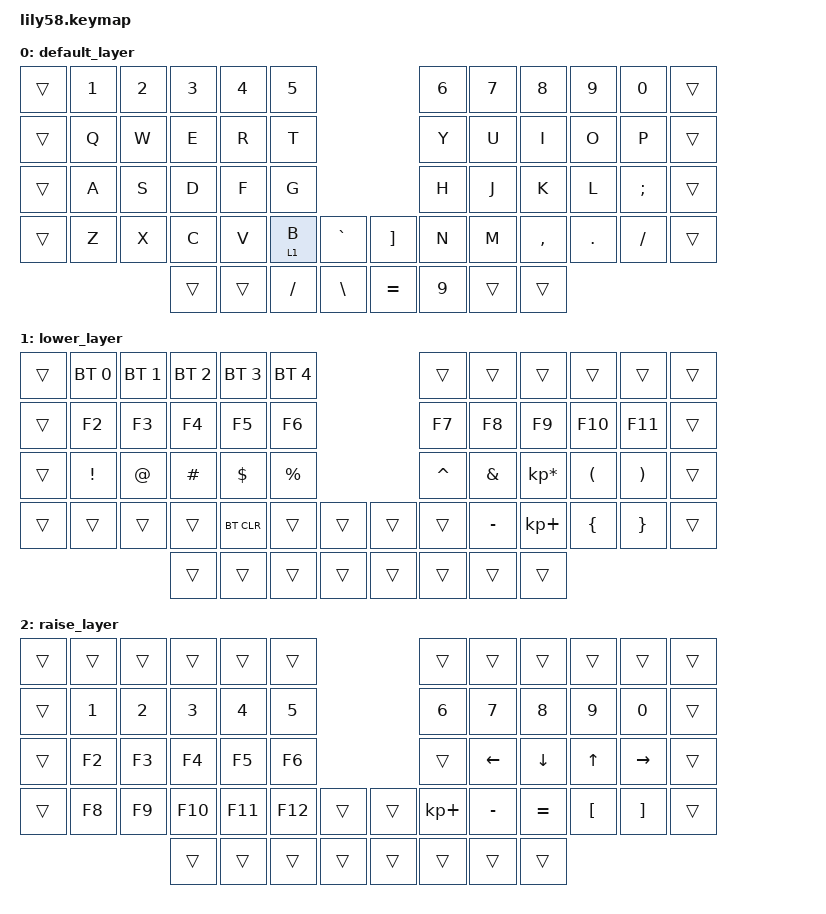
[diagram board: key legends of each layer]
/*
 * Copyright (c) 2020 The ZMK Contributors
 *
 * SPDX-License-Identifier: MIT
 */

#include <behaviors.dtsi>
#include <dt-bindings/zmk/bt.h>
#include <dt-bindings/zmk/keys.h>
#include <dt-bindings/zmk/outputs.h>

/ {
    macros {
        norsk_AO: norsk_AO {
            compatible = "zmk,behavior-macro";
            #binding-cells = <0>;
            bindings =
                <&macro_press>,
                <&kp LEFT_ALT>,
                <&macro_tap>,
                <&kp KP_NUMBER_0 &kp KP_NUMBER_2 &kp KP_NUMBER_2 &kp KP_NUMBER_9>,
                <&macro_release>,
                <&kp LEFT_ALT>;

            label = "NORSK_AO";
        };

        norsk_AO_cap: norsk_AO_cap {
            compatible = "zmk,behavior-macro";
            #binding-cells = <0>;
            bindings =
                <&macro_press>,
                <&kp LEFT_ALT>,
                <&macro_tap>,
                <&kp KP_NUMBER_0 &kp KP_NUMBER_1 &kp KP_NUMBER_9 &kp KP_NUMBER_7>,
                <&macro_release>,
                <&kp LEFT_ALT>;

            label = "NORSK_AO_CAP";
        };

        delete_line: delete_line {
            compatible = "zmk,behavior-macro";
            #binding-cells = <0>;
            bindings = <&kp END &kp LS(HOME) &kp BACKSPACE>;
            label = "DELETE_LINE";
        };

        norsk_AE: norsk_AE {
            compatible = "zmk,behavior-macro";
            #binding-cells = <0>;
            bindings =
                <&macro_press>,
                <&kp LEFT_ALT>,
                <&macro_tap>,
                <&kp KP_NUMBER_0 &kp KP_NUMBER_2 &kp KP_NUMBER_3 &kp KP_NUMBER_0>,
                <&macro_release>,
                <&kp LEFT_ALT>;

            label = "NORSK_AE";
        };

        norsk_AE_CAP: norsk_AE_CAP {
            compatible = "zmk,behavior-macro";
            #binding-cells = <0>;
            bindings =
                <&macro_press>,
                <&kp LEFT_ALT>,
                <&macro_tap>,
                <&kp KP_NUMBER_0 &kp KP_NUMBER_1 &kp KP_NUMBER_9 &kp KP_NUMBER_8>,
                <&macro_release>,
                <&kp LEFT_ALT>;

            label = "NORSK_AE_CAP";
        };

        norsk_OE: norsk_OE {
            compatible = "zmk,behavior-macro";
            #binding-cells = <0>;
            bindings =
                <&macro_press>,
                <&kp LEFT_ALT>,
                <&macro_tap>,
                <&kp KP_NUMBER_0 &kp KP_NUMBER_2 &kp KP_NUMBER_4 &kp KP_NUMBER_8>,
                <&macro_release>,
                <&kp LEFT_ALT>;

            label = "NORSK_OE";
        };

        norsk_OE_CAP: norsk_OE_CAP {
            compatible = "zmk,behavior-macro";
            #binding-cells = <0>;
            bindings =
                <&macro_press>,
                <&kp LEFT_ALT>,
                <&macro_tap>,
                <&kp KP_NUMBER_0 &kp KP_NUMBER_2 &kp KP_NUMBER_1 &kp KP_NUMBER_6>,
                <&macro_release>,
                <&kp LEFT_ALT>;

            label = "NORSK_OE_CAP";
        };

        degree: degree {
            compatible = "zmk,behavior-macro";
            #binding-cells = <0>;
            bindings =
                <&macro_press>,
                <&kp LEFT_ALT>,
                <&macro_tap>,
                <&kp KP_NUMBER_0 &kp KP_NUMBER_1 &kp KP_NUMBER_7 &kp KP_NUMBER_6>,
                <&macro_release>,
                <&kp LEFT_ALT>;

            label = "DEGREE";
        };

        par_mid: par_mid {
            compatible = "zmk,behavior-macro";
            #binding-cells = <0>;
            bindings = <&kp LEFT_PARENTHESIS &kp RIGHT_PARENTHESIS &kp LEFT>;
            label = "PAR_MID";
        };

        brk_mid: brk_mid {
            compatible = "zmk,behavior-macro";
            #binding-cells = <0>;
            bindings = <&kp LEFT_BRACKET &kp RIGHT_BRACKET &kp LEFT>;
            label = "BRK_MID";
        };

        brc_mid: brc_mid {
            compatible = "zmk,behavior-macro";
            #binding-cells = <0>;
            bindings = <&kp LEFT_BRACE &kp RIGHT_BRACE &kp LEFT>;
            label = "BRC_MID";
        };

        email: email {
            compatible = "zmk,behavior-macro";
            #binding-cells = <0>;
            bindings = <&kp I &kp Z &kp W &kp A &kp N &kp DOT &kp P &kp E &kp N &kp G &kp AT &kp G &kp M &kp A &kp I &kp L &kp DOT &kp C &kp O &kp M>;
            label = "EMAIL";
        };

        IKM_ADMIN: IKM_ADMIN {
            compatible = "zmk,behavior-macro";
            #binding-cells = <0>;
            bindings =
                <&macro_tap>,
                <&kp DOT &kp BSLH &kp A &kp D &kp M &kp I &kp N &kp I &kp S &kp T &kp R &kp A &kp T &kp O &kp R &kp TAB>;

            label = "IKM_ADMIN";
        };

        IKM_PC: IKM_PC {
            compatible = "zmk,behavior-macro";
            #binding-cells = <0>;
            bindings =
                <&macro_tap>,
                <&kp RIGHT &kp RIGHT &kp RIGHT &kp RIGHT &kp RIGHT &kp RIGHT &kp RIGHT &kp RIGHT &kp LS(A) &kp D &kp A &kp M &kp LS(A) &kp V &kp A &kp N2 &kp N1 &kp N2 &kp N2 &kp ENTER>;

            label = "IKM_PC";
        };

        INS_FIG: INS_FIG {
            compatible = "zmk,behavior-macro";
            #binding-cells = <0>;
            wait-ms = <150>;
            tap-ms = <150>;
            bindings =
                <&kp LC(LA(R))>,
                <&macro_wait_time 200>,
                <&kp F>,
                <&macro_wait_time 50>,
                <&kp I>,
                <&macro_wait_time 50>,
                <&kp G>,
                <&macro_wait_time 50>,
                <&kp TAB>,
                <&macro_wait_time 300>,
                <&kp DOWN>,
                <&macro_wait_time 150>,
                <&kp DOWN_ARROW>,
                <&macro_wait_time 150>,
                <&kp TAB &kp TAB>;

            label = "INS_FIG";
        };

        INS_TAB: INS_TAB {
            compatible = "zmk,behavior-macro";
            #binding-cells = <0>;
            wait-ms = <150>;
            tap-ms = <150>;
            bindings =
                <&kp LC(LA(R))>,
                <&macro_wait_time 200>,
                <&kp T>,
                <&macro_wait_time 50>,
                <&kp A>,
                <&macro_wait_time 50>,
                <&kp B>,
                <&macro_wait_time 50>,
                <&kp TAB>,
                <&macro_wait_time 300>,
                <&kp DOWN>,
                <&macro_wait_time 150>,
                <&kp DOWN_ARROW>,
                <&macro_wait_time 150>,
                <&kp TAB &kp TAB>;

            label = "INS_TAB";
        };

        INS_REF: INS_REF {
            compatible = "zmk,behavior-macro";
            #binding-cells = <0>;
            wait-ms = <150>;
            tap-ms = <150>;
            bindings =
                <&kp LC(LA(R))>,
                <&macro_wait_time 200>,
                <&kp N>,
                <&macro_wait_time 50>,
                <&kp U>,
                <&macro_wait_time 50>,
                <&kp M>,
                <&macro_wait_time 50>,
                <&kp TAB>,
                <&macro_wait_time 300>,
                <&kp DOWN>,
                <&macro_wait_time 150>,
                <&kp DOWN_ARROW>,
                <&macro_wait_time 150>,
                <&kp DOWN_ARROW>,
                <&macro_wait_time 150>,
                <&kp TAB &kp TAB>;

            label = "INS_REF";
        };

        INS_CAP: INS_CAP {
            compatible = "zmk,behavior-macro";
            #binding-cells = <0>;
            bindings = <&kp LEFT_ALT &kp S &kp P>;
            label = "INS_CAP";
            wait-ms = <150>;
        };

        NOR_ID: NOR_ID {
            compatible = "zmk,behavior-macro";
            #binding-cells = <0>;
            bindings = <&none &kp N0 &kp N1 &kp N0 &kp N9 &kp N9 &kp N3 &kp N2 &kp N3 &kp N7 &kp N2 &kp N4>;
            label = "NOR_ID";
        };

        INS_COL: INS_COL {
            compatible = "zmk,behavior-macro";
            #binding-cells = <0>;
            bindings =
                <&none &kp LC(SPACE)>,
                <&macro_wait_time 300>,
                <&kp LC(KP_PLUS)>;

            label = "INS_COL";
        };

        INS_ROW: INS_ROW {
            compatible = "zmk,behavior-macro";
            #binding-cells = <0>;
            bindings =
                <&none &kp LS(SPACE)>,
                <&macro_wait_time 300>,
                <&kp LC(KP_PLUS)>;

            label = "INS_ROW";
        };

        plusminus: plusminus {
            compatible = "zmk,behavior-macro";
            #binding-cells = <0>;
            bindings =
                <&macro_press>,
                <&kp LEFT_ALT>,
                <&macro_tap>,
                <&kp KP_NUMBER_0 &kp KP_NUMBER_1 &kp KP_NUMBER_7 &kp KP_NUMBER_7>,
                <&macro_release>,
                <&kp LEFT_ALT>;

            label = "PLUSMINUS";
        };

        APDL_nodeNumber: APDL_nodeNumber {
            compatible = "zmk,behavior-macro";
            #binding-cells = <0>;
            bindings =
                <&macro_press>,
                <&kp LEFT_ALT>,
                <&macro_tap>,
                <&kp C>,
                <&macro_release>,
                <&kp LEFT_ALT>,
                <&macro_tap>,
                <&kp DOWN &kp DOWN &kp DOWN &kp ENTER &kp TAB &kp TAB &kp TAB &kp TAB &kp SPACE &kp ENTER>;

            label = "APDL_NODENUMBER";
            wait-ms = <200>;
        };

        INS_LINK: INS_LINK {
            compatible = "zmk,behavior-macro";
            #binding-cells = <0>;
            wait-ms = <150>;
            tap-ms = <150>;
            bindings =
                <&kp LEFT_ALT>,
                <&macro_wait_time 200>,
                <&kp N>,
                <&macro_wait_time 50>,
                <&kp I>,
                <&macro_wait_time 50>,
                <&kp I>;

            label = "INS_LINK";
        };

        ACROBAT_accept: ACROBAT_accept {
            compatible = "zmk,behavior-macro";
            #binding-cells = <0>;
            bindings = <&kp F13 &kp DOWN &kp DOWN &kp DOWN &kp RIGHT_ARROW &kp DOWN &kp ENTER>;
            label = "ACROBAT_ACCEPT";
            wait-ms = <200>;
        };

        WIN_new_txt: WIN_new_txt {
            compatible = "zmk,behavior-macro";
            #binding-cells = <0>;
            bindings = <&kp K_APP &kp W &kp T>;
            label = "WIN_NEW_TXT";
            wait-ms = <200>;
        };

        INS_HIGHLIGHT: INS_HIGHLIGHT {
            compatible = "zmk,behavior-macro";
            #binding-cells = <0>;
            wait-ms = <150>;
            tap-ms = <150>;
            bindings =
                <&kp LEFT_ALT>,
                <&macro_wait_time 150>,
                <&kp H>,
                <&macro_wait_time 150>,
                <&kp I>,
                <&macro_wait_time 150>,
                <&kp ENTER>;

            label = "INS_HIGHLIGHT";
        };

        sel_line: sel_line {
            compatible = "zmk,behavior-macro";
            #binding-cells = <0>;
            bindings = <&kp END &kp LS(HOME)>;
            label = "SEL_LINE";
        };

        SHAPR3D: SHAPR3D {
            compatible = "zmk,behavior-macro";
            #binding-cells = <0>;
            bindings = <&kp E &kp Z &kp L &kp A &kp N &kp D &kp DOT &kp S &kp H &kp A &kp P &kp R &kp N3 &kp D &kp AT &kp G &kp M &kp A &kp I &kp L &kp DOT &kp C &kp O &kp M &kp TAB &kp LS(L) &kp O &kp G &kp O &kp U &kp T &kp N2 &kp N0 &kp N2 &kp N3 &kp N2 &kp N0>;
            label = "SHAPR3D";
            wait-ms = <100>;
        };

        define_method: define_method {
            compatible = "zmk,behavior-macro";
            #binding-cells = <0>;
            bindings =
                <&kp D &kp E &kp F &kp SPACE &kp UNDER &kp M &kp E &kp T &kp H &kp O &kp D &kp SPACE &kp LPAR &kp S &kp E &kp L &kp F &kp RPAR &kp COLON &kp RET>,
                <&macro_press>,
                <&kp DQT &kp DQT &kp DQT &kp RET &kp D &kp O &kp C &kp S &kp T &kp R &kp I &kp N &kp G &kp RET &kp DQT &kp DQT &kp DQT &kp RET &kp R &kp E &kp T &kp U &kp R &kp N &kp SPACE &kp LPAR &kp S &kp E &kp L &kp F &kp RPAR>,
                <&macro_press>;

            label = "DEFINE_METHOD";
        };

        select_word: select_word {
            compatible = "zmk,behavior-macro";
            #binding-cells = <0>;
            bindings = <&macro_tap>, <&kp LC(RIGHT) &kp LC(LS(LEFT))>;

            label = "SELECT_WORD";
        };
    };

    behaviors {
        caps_esc: caps_esc {
            compatible = "zmk,behavior-tap-dance";
            label = "CAPS_ESC";
            #binding-cells = <0>;
            bindings = <&kp ESCAPE>, <&kp CAPS>;

            tapping-term-ms = <300>;
        };

        ht_tap: HT_TAP {
            compatible = "zmk,behavior-hold-tap";
            label = "HT_TAP";
            bindings = <&kp>, <&kp>;

            #binding-cells = <2>;
            tapping-term-ms = <220>;
            flavor = "hold-preferred";
            quick-tap-ms = <150>;
            require-prior-idle-ms = <100>;
        };

        AO: AO {
            compatible = "zmk,behavior-tap-dance";
            label = "AO";
            #binding-cells = <0>;
            bindings = <&norsk_AO>, <&norsk_AO_cap>;

            tapping-term-ms = <300>;
        };

        QUOT_DQUO: QUOT_DQUO {
            compatible = "zmk,behavior-tap-dance";
            label = "QUOT_DQUO";
            #binding-cells = <0>;
            bindings = <&kp SINGLE_QUOTE>, <&kp DOUBLE_QUOTES>;

            tapping-term-ms = <300>;
        };

        AE: AE {
            compatible = "zmk,behavior-tap-dance";
            label = "AE";
            #binding-cells = <0>;
            bindings = <&norsk_AE>, <&norsk_AE_CAP>;

            tapping-term-ms = <300>;
        };

        OE: OE {
            compatible = "zmk,behavior-tap-dance";
            label = "OE";
            #binding-cells = <0>;
            bindings = <&norsk_OE>, <&norsk_OE_CAP>;

            tapping-term-ms = <300>;
        };

        SHFT_SPC: SHFT_SPC {
            compatible = "zmk,behavior-hold-tap";
            label = "SHFT_SPC";
            bindings = <&kp>, <&kp>;

            #binding-cells = <2>;
            tapping-term-ms = <100>;
            hold-trigger-key-positions = <32>;
        };

        UND_MINS: UND_MINS {
            compatible = "zmk,behavior-tap-dance";
            label = "UND_MINS";
            #binding-cells = <0>;
            bindings = <&kp MINUS>, <&kp UNDER>;

            tapping-term-ms = <300>;
        };

        AMP_CURL: AMP_CURL {
            compatible = "zmk,behavior-tap-dance";
            label = "AMP_CURL";
            #binding-cells = <0>;
            bindings = <&kp AMPERSAND>, <&kp TILDE>;

            tapping-term-ms = <300>;
        };

        SUB_SUP: SUB_SUP {
            compatible = "zmk,behavior-tap-dance";
            label = "SUB_SUP";
            #binding-cells = <0>;
            tapping-term-ms = <300>;
            bindings = <&kp LC(EQUAL)>, <&kp LC(LS(EQUAL))>;
        };

        EXC_G: EXC_G {
            compatible = "zmk,behavior-tap-dance";
            label = "EXC_G";
            #binding-cells = <0>;
            bindings = <&kp G>, <&kp EXCLAMATION>;

            tapping-term-ms = <200>;
        };

        QUE_J: QUE_J {
            compatible = "zmk,behavior-tap-dance";
            label = "QUE_J";
            #binding-cells = <0>;
            bindings = <&kp J>, <&kp QUESTION>;

            tapping-term-ms = <165>;
        };

        ht_hold: ht_hold {
            compatible = "zmk,behavior-hold-tap";
            label = "HT_HOLD";
            bindings = <&kp>, <&kp>;

            #binding-cells = <2>;
            tapping-term-ms = <180>;
            flavor = "hold-preferred";
            quick-tap-ms = <150>;
            require-prior-idle-ms = <100>;
        };

        B_USB: B_USB {
            compatible = "zmk,behavior-tap-dance";
            label = "B_USB";
            #binding-cells = <0>;
            bindings = <&kp B>, <&out OUT_USB>;

            tapping-term-ms = <165>;
        };

        layer_tap: layer_tap {
            compatible = "zmk,behavior-hold-tap";
            label = "LAYER_TAP";
            bindings = <&mo>, <&kp>;

            #binding-cells = <2>;
            tapping-term-ms = <220>;
            flavor = "tap-preferred";
            quick-tap-ms = <150>;
            require-prior-idle-ms = <100>;
        };

        V_BLE: V_BLE {
            compatible = "zmk,behavior-tap-dance";
            label = "V_BLE";
            #binding-cells = <0>;
            bindings = <&kp V>, <&out OUT_USB>;

            tapping-term-ms = <165>;
        };

        non_breaking: non_breaking {
            compatible = "zmk,behavior-tap-dance";
            label = "NON_BREAKING";
            #binding-cells = <0>;
            bindings = <&kp LS(LC(SPACE))>, <&kp LS(LC(MINUS))>;

            tapping-term-ms = <300>;
        };

        CTRL_at: CTRL_at {
            compatible = "zmk,behavior-hold-tap";
            label = "CTRL_AT";
            bindings = <&kp>, <&kp>;

            #binding-cells = <2>;
            tapping-term-ms = <150>;
        };

        SHFT_ID: SHFT_ID {
            compatible = "zmk,behavior-hold-tap";
            label = "SHFT_ID";
            bindings = <&kp>, <&NOR_ID>;

            #binding-cells = <2>;
            tapping-term-ms = <150>;
        };

        cap_I: cap_I {
            compatible = "zmk,behavior-tap-dance";
            label = "CAP_I";
            #binding-cells = <0>;
            bindings = <&kp I>, <&kp LS(I)>;

            tapping-term-ms = <200>;
        };
    };

    combos {
        compatible = "zmk,combos";

        NPP_comment {
            bindings = <&kp LC(Q)>;
            key-positions = <1 2>;
            layers = <0>;
        };

        RIGHT_ENT {
            bindings = <&kp ENTER>;
            key-positions = <32 33>;
            layers = <0 2>;
        };

        delete_line_combo {
            bindings = <&delete_line>;
            key-positions = <37 38>;
            layers = <0>;
        };

        bootloader_left {
            bindings = <&bootloader>;
            key-positions = <5 17 29>;
            layers = <0>;
        };

        QUES {
            bindings = <&kp QUESTION>;
            key-positions = <18 19>;
            layers = <0>;
        };

        EXCLAM {
            bindings = <&kp EXCLAMATION>;
            key-positions = <17 16>;
            layers = <0>;
        };

        NPP_hideline {
            bindings = <&kp LA(H)>;
            key-positions = <2 3>;
        };

        Numpad {
            bindings = <&tog 2>;
            key-positions = <26 27 28>;
            layers = <2 0>;
        };

        NE_mins {
            bindings = <&kp MINUS>;
            key-positions = <19 20>;
            layers = <0>;
        };

        EI_unds {
            bindings = <&kp UNDER>;
            key-positions = <20 21>;
            layers = <0>;
        };

        LU_dquo {
            bindings = <&kp LS(SINGLE_QUOTE)>;
            key-positions = <8 7>;
            layers = <0>;
        };

        VB_OF-hide {
            bindings = <&kp LC(H)>;
            key-positions = <28 29>;
            layers = <0>;
        };

        PG_OF-elevation {
            bindings = <&kp LC(E)>;
            key-positions = <4 5>;
            layers = <0>;
        };

        duplicateLine {
            bindings = <&kp LC(LA(UP_ARROW))>;
            key-positions = <5 1>;
            layers = <0>;
        };

        UY_dquo {
            bindings = <&kp DOUBLE_QUOTES>;
            key-positions = <8 9>;
            layers = <0>;
        };
    };

    keymap {
        compatible = "zmk,keymap";

        default_layer {
            bindings = <
&trans  &kp N1  &kp N2  &kp N3  &kp N4  &kp N5                            &kp N6  &kp N7  &kp N8     &kp N9   &kp N0    &trans
&trans  &kp Q   &kp W   &kp E   &kp R   &kp T                             &kp Y   &kp U   &kp I      &kp O    &kp P     &trans
&trans  &kp A   &kp S   &kp D   &kp F   &kp G                             &kp H   &kp J   &kp K      &kp L    &kp SEMI  &trans
&trans  &kp Z   &kp X   &kp C   &kp V   &lt 1 B   &kp GRAVE    &kp RBKT   &kp N   &kp M   &kp COMMA  &kp DOT  &kp FSLH  &trans
                        &trans  &trans  &kp FSLH  &kp BSLH     &kp EQUAL  &kp N9  &trans  &trans
            >;
        };

        lower_layer {
            bindings = <
&trans  &bt BT_SEL 0  &bt BT_SEL 1  &bt BT_SEL 2  &bt BT_SEL 3  &bt BT_SEL 4                    &trans     &trans     &trans           &trans    &trans    &trans
&trans  &kp F2        &kp F3        &kp F4        &kp F5        &kp F6                          &kp F7     &kp F8     &kp F9           &kp F10   &kp F11   &trans
&trans  &kp EXCL      &kp AT        &kp HASH      &kp DOLLAR    &kp PRCNT                       &kp CARET  &kp AMPS   &kp KP_MULTIPLY  &kp LPAR  &kp RPAR  &trans
&trans  &trans        &trans        &trans        &bt BT_CLR    &trans        &trans    &trans  &trans     &kp MINUS  &kp KP_PLUS      &kp LBRC  &kp RBRC  &trans
                                    &trans        &trans        &trans        &trans    &trans  &trans     &trans     &trans
            >;
        };

        raise_layer {
            bindings = <
&trans  &trans  &trans  &trans   &trans   &trans                     &trans       &trans     &trans     &trans    &trans     &trans
&trans  &kp N1  &kp N2  &kp N3   &kp N4   &kp N5                     &kp N6       &kp N7     &kp N8     &kp N9    &kp N0     &trans
&trans  &kp F2  &kp F3  &kp F4   &kp F5   &kp F6                     &trans       &kp LEFT   &kp DOWN   &kp UP    &kp RIGHT  &trans
&trans  &kp F8  &kp F9  &kp F10  &kp F11  &kp F12  &trans    &trans  &kp KP_PLUS  &kp MINUS  &kp EQUAL  &kp LBKT  &kp RBKT   &trans
                        &trans   &trans   &trans   &trans    &trans  &trans       &trans     &trans
            >;
        };
    };
};
